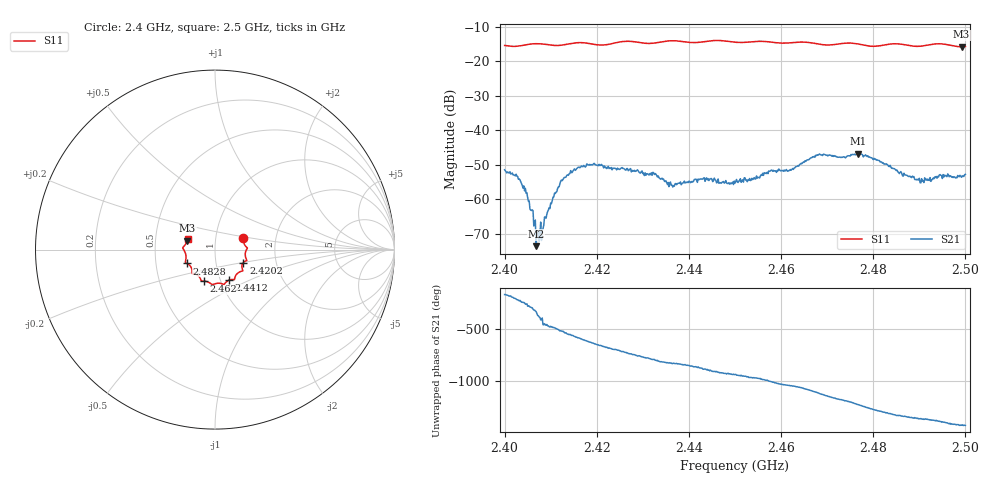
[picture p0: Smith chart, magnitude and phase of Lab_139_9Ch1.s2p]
# Hz S RI R 50
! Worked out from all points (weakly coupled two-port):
!   601 points, 2.4 GHz to 2.5 GHz, reference 50 ohm
!   highest |S21| = -46.72 dB at 2.4767 GHz (marker M1); lowest = -73.5 dB at 2.4068 GHz (marker M2)
!   lowest |S11| = -15.8 dB at 2.4992 GHz (marker M3), VSWR 1.39, Z = 36.4 + j3.73 ohm
!   |S11| at or under -10 dB: start of sweep to end of sweep
!   S12 and S22 are empty: the file has one direction only
!   S11 on the Smith chart (normalised r, x): 2.4 GHz: 1.36, +0.17; 2.4202 GHz: 1.36, -0.20; 2.4412 GHz: 1.09, -0.39; 2.462 GHz: 0.84, -0.30; 2.4828 GHz: 0.72, -0.11; 2.5 GHz: 0.73, +0.09
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2.4e9  0.1585 0.062  -0.00268 -0.000187  0 0  0 0
2.403667e9  0.1678 0.0222  -0.000617 0.0016  0 0  0 0
2.404833e9  0.1742 0.0149  -0.000118 0.00125  0 0  0 0
2.406833e9  0.1803 0.00945  0.000195 7.82e-05  0 0  0 0
2.407333e9  0.1803 0.00821  0.00032 -0.000108  0 0  0 0
2.408e9  0.1792 0.00615  0.000146 -0.000209  0 0  0 0
2.4105e9  0.1705 -0.0119  -0.000697 -0.000823  0 0  0 0
2.4125e9  0.1689 -0.0341  -0.00182 -0.000446  0 0  0 0
2.416667e9  0.1769 -0.0605  -0.00165 0.00257  0 0  0 0
2.420167e9  0.1582 -0.072  0.00127 0.00283  0 0  0 0
2.433333e9  0.1119 -0.1512  2.49e-05 -0.00219  0 0  0 0
2.436667e9  0.1081 -0.1673  -0.000522 -0.0015  0 0  0 0
2.441167e9  0.0763 -0.1709  -0.00156 -0.00117  0 0  0 0
2.45e9  0.0278 -0.1877  -0.00139 0.00102  0 0  0 0
2.462e9  -0.0606 -0.1759  0.00219 0.00161  0 0  0 0
2.466667e9  -0.0788 -0.1678  0.00394 -0.000777  0 0  0 0
2.476667e9  -0.127 -0.1262  -0.00361 -0.00287  0 0  0 0
2.482833e9  -0.1574 -0.0769  -0.00248 0.00216  0 0  0 0
2.483333e9  -0.1604 -0.0753  -0.00204 0.00223  0 0  0 0
2.4905e9  -0.1657 -0.0172  0.000302 0.00198  0 0  0 0
2.499167e9  -0.155 0.0498  0.00196 0.000744  0 0  0 0
2.5e9  -0.1526 0.0616  0.00218 0.000772  0 0  0 0
